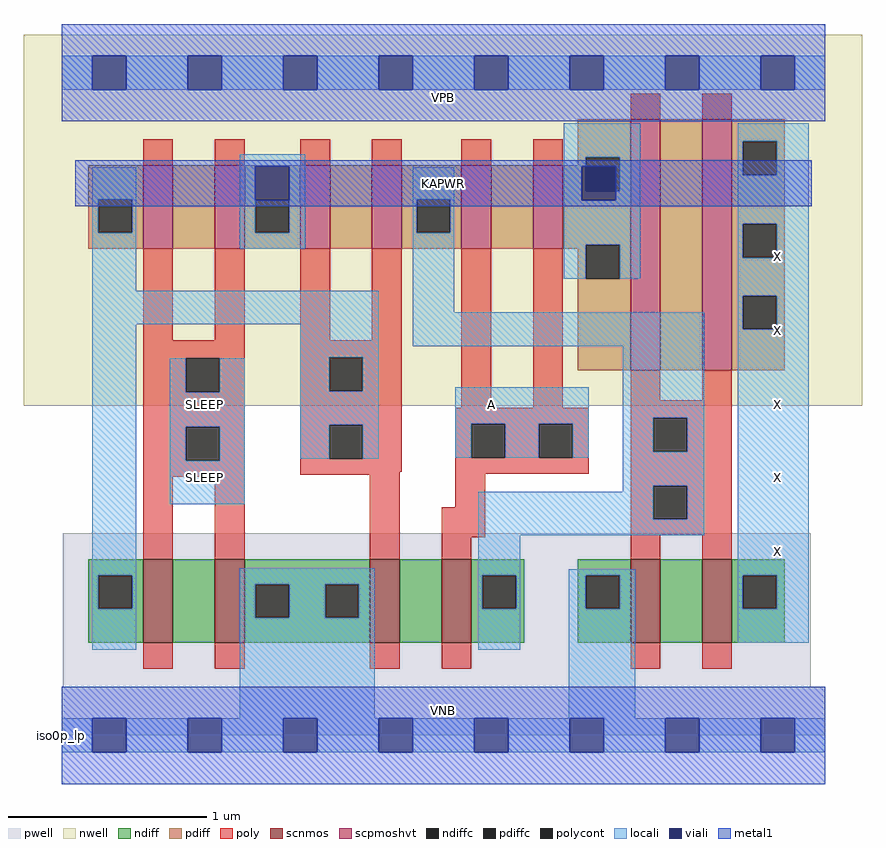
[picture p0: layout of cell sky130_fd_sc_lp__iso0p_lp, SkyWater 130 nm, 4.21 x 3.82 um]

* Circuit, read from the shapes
.subckt sky130_fd_sc_lp__iso0p_lp A KAPWR SLEEP VGND VNB VPB VPWR X
XM1 n1 SLEEP n2 VNB sky130_fd_pr__nfet_01v8 w=0.42 l=0.15
XM2 VGND SLEEP n1 VNB sky130_fd_pr__nfet_01v8 w=0.42 l=0.15
XM3 n3 n2 VGND VNB sky130_fd_pr__nfet_01v8 w=0.42 l=0.15
XM4 n4 A n3 VNB sky130_fd_pr__nfet_01v8 w=0.42 l=0.15
XM5 n5 n4 VGND VNB sky130_fd_pr__nfet_01v8 w=0.42 l=0.15
XM6 X n4 n5 VNB sky130_fd_pr__nfet_01v8 w=0.42 l=0.15
XM7 n6 SLEEP n2 VPB sky130_fd_pr__pfet_01v8_hvt w=0.42 l=0.15
XM8 KAPWR SLEEP n6 VPB sky130_fd_pr__pfet_01v8_hvt w=0.42 l=0.15
XM9 n7 n2 KAPWR VPB sky130_fd_pr__pfet_01v8_hvt w=0.42 l=0.15
XM10 n4 n2 n7 VPB sky130_fd_pr__pfet_01v8_hvt w=0.42 l=0.15
XM11 n8 A n4 VPB sky130_fd_pr__pfet_01v8_hvt w=0.42 l=0.15
XM12 KAPWR A n8 VPB sky130_fd_pr__pfet_01v8_hvt w=0.42 l=0.15
XM13 n9 n4 KAPWR VPB sky130_fd_pr__pfet_01v8_hvt w=1.26 l=0.15
XM14 X n4 n9 VPB sky130_fd_pr__pfet_01v8_hvt w=1.26 l=0.15
.ends

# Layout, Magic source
magic
tech sky130A
magscale 1 2
<< nwell >>
rect -38 331 805 704
<< pwell >>
rect 1 49 753 203
rect 0 0 768 49
<< scnmos >>
rect 82 93 112 177
rect 154 93 184 177
rect 310 93 340 177
rect 382 93 412 177
rect 572 93 602 177
rect 644 93 674 177
<< scpmoshvt >>
rect 82 489 112 573
rect 154 489 184 573
rect 240 489 270 573
rect 312 489 342 573
rect 402 489 432 573
rect 474 489 504 573
rect 572 367 602 619
rect 644 367 674 619
<< ndiff >>
rect 27 161 82 177
rect 27 127 37 161
rect 71 127 82 161
rect 27 93 82 127
rect 112 93 154 177
rect 184 152 310 177
rect 184 118 195 152
rect 229 118 265 152
rect 299 118 310 152
rect 184 93 310 118
rect 340 93 382 177
rect 412 161 465 177
rect 412 127 423 161
rect 457 127 465 161
rect 412 93 465 127
rect 519 161 572 177
rect 519 127 527 161
rect 561 127 572 161
rect 519 93 572 127
rect 602 93 644 177
rect 674 161 727 177
rect 674 127 685 161
rect 719 127 727 161
rect 674 93 727 127
<< pdiff >>
rect 519 581 572 619
rect 519 573 527 581
rect 27 539 82 573
rect 27 505 37 539
rect 71 505 82 539
rect 27 489 82 505
rect 112 489 154 573
rect 184 539 240 573
rect 184 505 195 539
rect 229 505 240 539
rect 184 489 240 505
rect 270 489 312 573
rect 342 539 402 573
rect 342 505 357 539
rect 391 505 402 539
rect 342 489 402 505
rect 432 489 474 573
rect 504 547 527 573
rect 561 547 572 581
rect 504 493 572 547
rect 504 489 527 493
rect 519 459 527 489
rect 561 459 572 493
rect 519 367 572 459
rect 602 367 644 619
rect 674 597 727 619
rect 674 563 685 597
rect 719 563 727 597
rect 674 514 727 563
rect 674 480 685 514
rect 719 480 727 514
rect 674 442 727 480
rect 674 408 685 442
rect 719 408 727 442
rect 674 367 727 408
<< ndiffc >>
rect 37 127 71 161
rect 195 118 229 152
rect 265 118 299 152
rect 423 127 457 161
rect 527 127 561 161
rect 685 127 719 161
<< pdiffc >>
rect 37 505 71 539
rect 195 505 229 539
rect 357 505 391 539
rect 527 547 561 581
rect 527 459 561 493
rect 685 563 719 597
rect 685 480 719 514
rect 685 408 719 442
<< poly >>
rect 572 619 602 645
rect 644 619 674 645
rect 82 573 112 599
rect 154 573 184 599
rect 240 573 270 599
rect 312 573 342 599
rect 402 573 432 599
rect 474 573 504 599
rect 82 397 112 489
rect 154 397 184 489
rect 82 379 184 397
rect 82 345 125 379
rect 159 345 184 379
rect 82 310 184 345
rect 82 276 125 310
rect 159 276 184 310
rect 82 260 184 276
rect 240 397 270 489
rect 312 397 342 489
rect 240 380 342 397
rect 240 346 269 380
rect 303 346 342 380
rect 240 312 342 346
rect 402 329 432 489
rect 474 329 504 489
rect 572 337 602 367
rect 644 337 674 367
rect 240 278 269 312
rect 303 278 342 312
rect 240 265 342 278
rect 396 313 530 329
rect 396 279 412 313
rect 446 279 480 313
rect 514 279 530 313
rect 240 262 340 265
rect 82 177 112 260
rect 154 177 184 260
rect 310 177 340 262
rect 396 263 530 279
rect 572 319 674 337
rect 572 285 595 319
rect 629 285 674 319
rect 396 229 426 263
rect 382 199 426 229
rect 572 251 674 285
rect 572 217 595 251
rect 629 217 674 251
rect 572 201 674 217
rect 382 177 412 199
rect 572 177 602 201
rect 644 177 674 201
rect 82 67 112 93
rect 154 67 184 93
rect 310 67 340 93
rect 382 67 412 93
rect 572 67 602 93
rect 644 67 674 93
<< polycont >>
rect 125 345 159 379
rect 125 276 159 310
rect 269 346 303 380
rect 269 278 303 312
rect 412 279 446 313
rect 480 279 514 313
rect 595 285 629 319
rect 595 217 629 251
<< locali >>
rect 0 649 31 683
rect 65 649 127 683
rect 161 649 223 683
rect 257 649 319 683
rect 353 649 415 683
rect 449 649 511 683
rect 545 649 607 683
rect 641 649 703 683
rect 737 649 768 683
rect 179 572 245 584
rect 31 539 75 571
rect 31 505 37 539
rect 71 505 75 539
rect 31 447 75 505
rect 179 505 195 572
rect 229 505 245 572
rect 505 581 582 615
rect 505 572 527 581
rect 179 489 245 505
rect 353 539 395 571
rect 353 505 357 539
rect 391 505 395 539
rect 31 413 319 447
rect 31 161 75 413
rect 240 380 319 413
rect 353 425 395 505
rect 505 538 523 572
rect 561 547 582 581
rect 557 538 582 547
rect 505 493 582 538
rect 505 459 527 493
rect 561 459 582 493
rect 680 597 751 615
rect 680 563 685 597
rect 719 563 751 597
rect 680 514 751 563
rect 680 480 685 514
rect 719 480 751 514
rect 680 442 751 480
rect 353 391 646 425
rect 109 345 125 379
rect 159 345 184 379
rect 109 310 184 345
rect 109 276 125 310
rect 159 276 184 310
rect 240 346 269 380
rect 303 346 319 380
rect 240 312 319 346
rect 240 278 269 312
rect 303 278 319 312
rect 396 313 530 350
rect 396 279 412 313
rect 446 279 480 313
rect 514 279 530 313
rect 564 319 646 391
rect 564 285 595 319
rect 629 285 646 319
rect 109 232 184 276
rect 564 251 646 285
rect 564 245 595 251
rect 419 217 595 245
rect 629 217 646 251
rect 419 201 646 217
rect 680 408 685 442
rect 719 408 751 442
rect 31 127 37 161
rect 71 127 75 161
rect 31 86 75 127
rect 179 152 315 168
rect 179 118 195 152
rect 229 118 265 152
rect 299 118 315 152
rect 179 17 315 118
rect 419 161 461 201
rect 419 127 423 161
rect 457 127 461 161
rect 419 86 461 127
rect 510 161 577 167
rect 510 127 527 161
rect 561 127 577 161
rect 510 17 577 127
rect 680 161 751 408
rect 680 127 685 161
rect 719 127 751 161
rect 680 93 751 127
rect 0 -17 31 17
rect 65 -17 127 17
rect 161 -17 223 17
rect 257 -17 319 17
rect 353 -17 415 17
rect 449 -17 511 17
rect 545 -17 607 17
rect 641 -17 703 17
rect 737 -17 768 17
<< viali >>
rect 31 649 65 683
rect 127 649 161 683
rect 223 649 257 683
rect 319 649 353 683
rect 415 649 449 683
rect 511 649 545 683
rect 607 649 641 683
rect 703 649 737 683
rect 195 539 229 572
rect 195 538 229 539
rect 523 547 527 572
rect 527 547 557 572
rect 523 538 557 547
rect 31 -17 65 17
rect 127 -17 161 17
rect 223 -17 257 17
rect 319 -17 353 17
rect 415 -17 449 17
rect 511 -17 545 17
rect 607 -17 641 17
rect 703 -17 737 17
<< metal1 >>
rect 0 683 768 715
rect 0 649 31 683
rect 65 649 127 683
rect 161 649 223 683
rect 257 649 319 683
rect 353 649 415 683
rect 449 649 511 683
rect 545 649 607 683
rect 641 649 703 683
rect 737 649 768 683
rect 0 617 768 649
rect 14 572 754 578
rect 14 538 195 572
rect 229 538 523 572
rect 557 538 754 572
rect 14 532 754 538
rect 0 17 768 49
rect 0 -17 31 17
rect 65 -17 127 17
rect 161 -17 223 17
rect 257 -17 319 17
rect 353 -17 415 17
rect 449 -17 511 17
rect 545 -17 607 17
rect 641 -17 703 17
rect 737 -17 768 17
rect 0 -49 768 -17
<< labels >>
flabel pwell s 0 0 768 49 0 FreeSans 200 0 0 0 VNB
port 5 nsew ground bidirectional
flabel locali s 703 390 737 424 0 FreeSans 200 0 0 0 X
port 8 nsew signal output
flabel locali s 703 464 737 498 0 FreeSans 200 0 0 0 X
port 8 nsew signal output
flabel locali s 703 168 737 202 0 FreeSans 200 0 0 0 X
port 8 nsew signal output
flabel locali s 703 316 737 350 0 FreeSans 200 0 0 0 X
port 8 nsew signal output
flabel locali s 127 316 161 350 0 FreeSans 200 0 0 0 SLEEP
port 3 nsew signal input
flabel locali s 703 242 737 276 0 FreeSans 200 0 0 0 X
port 8 nsew signal output
flabel locali s 415 316 449 350 0 FreeSans 200 0 0 0 A
port 1 nsew signal input
flabel locali s 127 242 161 276 0 FreeSans 200 0 0 0 SLEEP
port 3 nsew signal input
flabel nwell s 0 617 768 666 0 FreeSans 200 0 0 0 VPB
port 6 nsew power bidirectional
rlabel comment s 0 0 0 0 4 iso0p_lp
flabel metal1 s 14 532 754 578 0 FreeSans 340 0 0 0 KAPWR
port 2 nsew power bidirectional
flabel metal1 s 0 617 768 666 0 FreeSans 200 0 0 0 VPWR
port 7 nsew power bidirectional
flabel metal1 s 0 0 768 49 0 FreeSans 200 0 0 0 VGND
port 4 nsew ground bidirectional
<< properties >>
string LEFsite unit
string LEFclass CORE
string FIXED_BBOX 0 0 768 666
string GDS_FILE $PDKPATH/libs.ref/sky130_fd_sc_lp/gds/sky130_fd_sc_lp.gds
string LEFsymmetry X Y R90
string GDS_END 5925670
string GDS_START 5919166
<< end >>
